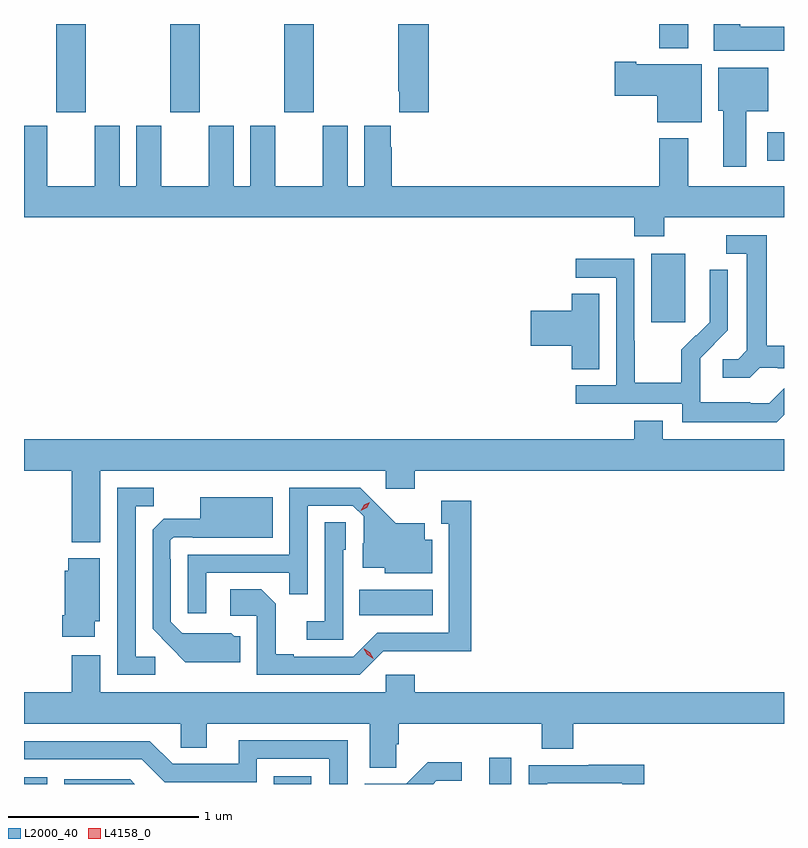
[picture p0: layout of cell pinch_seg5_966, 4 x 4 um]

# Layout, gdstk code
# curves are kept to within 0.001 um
import gdstk
lib = gdstk.Library(unit=1e-6, precision=1e-09)
def R(c, l, rs):  # rectangles x0, y0, x1, y1
    for r in rs: c.add(gdstk.rectangle(r[:2], r[2:], *l))
def A(c, l, x, y, w, h, nx, ny, dx, dy):  # array of equal rectangles
    R(c, l, [(x+i*dx, y+j*dy, x+i*dx+w, y+j*dy+h) for i in range(nx) for j in range(ny)])
def P(c, l, *ps):  # polygons
    for p in ps: c.add(gdstk.Polygon(p, *l))
L2000_40 = (2000, 40)
L4158_0 = (4158, 0)

pinch_seg5_966 = lib.new_cell('pinch_seg5_966')
A(pinch_seg5_966, L2000_40, 708.979, 883.953, 0.155, 0.465, 3, 1, 0.6, 0)
R(pinch_seg5_966, L2000_40, [(708.808,880.418,708.93,880.453), (710.122,880.418,710.32,880.459), (711.257,880.418,711.372,880.555), (710.572,881.306,710.959,881.44), (712.109,882.849,712.288,883.21), (712.719,883.697,712.808,883.849), (712.151,884.291,712.303,884.418)])
P(pinch_seg5_966, L2000_40, [(710.939,884.418),(710.779,884.418),(710.779,884.065),(710.783,884.065),(710.783,883.953),(710.939,883.953)],
  [(712.808,884.404),(712.579,884.404),(712.579,884.418),(712.439,884.418),(712.439,884.276),(712.808,884.276)],
  [(712.375,884.206),(712.03,884.206),(712.03,884.219),(711.918,884.219),(711.918,884.041),(712.142,884.041),(712.142,883.901),(712.375,883.901)],
  [(712.609,883.958),(712.726,883.958),(712.726,884.188),(712.463,884.188),(712.463,883.962),(712.487,883.962),(712.487,883.668),(712.609,883.668)],
  [(712.179,883.4),(712.808,883.4),(712.808,883.564),(712.303,883.564),(712.303,883.816),(712.151,883.816),(712.151,883.564),(710.744,883.564),(710.744,883.769),(710.737,883.769),(710.737,883.882),(710.6,883.882),(710.6,883.564),(710.512,883.564),(710.512,883.882),(710.381,883.882),(710.381,883.564),(710.131,883.564),(710.131,883.882),(710,883.882),(710,883.564),(709.912,883.564),(709.912,883.882),(709.781,883.882),(709.781,883.564),(709.531,883.564),(709.531,883.882),(709.4,883.882),(709.4,883.564),(709.312,883.564),(709.312,883.882),(709.181,883.882),(709.181,883.564),(708.931,883.564),(708.931,883.882),(708.808,883.882),(708.808,883.4),(712.019,883.4),(712.019,883.301),(712.179,883.301)],
  [(712.68,882.609),(712.774,882.609),(712.774,882.606),(712.808,882.606),(712.808,882.725),(712.717,882.725),(712.717,883.305),(712.503,883.305),(712.503,883.209),(712.613,883.209),(712.613,882.701),(712.566,882.654),(712.485,882.654),(712.485,882.557),(712.628,882.557)],
  [(712.808,882.362),(712.808,882.5),(712.731,882.423),(712.631,882.423),(712.631,882.427),(712.368,882.427),(712.368,882.561),(712.366,882.561),(712.366,882.658),(712.512,882.806),(712.512,883.124),(712.416,883.124),(712.416,882.97),(712.418,882.97),(712.418,882.848),(712.347,882.777),(712.344,882.78),(712.267,882.703),(712.267,882.529),(712.023,882.529),(712.023,882.752),(712.02,882.752),(712.02,883.182),(711.711,883.182),(711.711,883.083),(711.924,883.083),(711.924,882.516),(711.711,882.516),(711.711,882.42),(712.272,882.42),(712.272,882.323),(712.769,882.323)],
  [(711.835,882.998),(711.692,882.998),(711.692,882.908),(711.474,882.908),(711.474,882.725),(711.692,882.725),(711.692,882.601),(711.835,882.601)],
  [(709.21,882.068),(710.712,882.068),(710.712,881.973),(710.864,881.973),(710.864,882.068),(712.808,882.068),(712.808,882.232),(712.171,882.232),(712.171,882.331),(712.019,882.331),(712.019,882.232),(708.808,882.232),(708.808,882.068),(709.058,882.068),(709.058,881.69),(709.21,881.69)],
  [(709.498,881.088),(709.395,881.088),(709.395,881.881),(709.491,881.881),(709.491,881.976),(709.299,881.976),(709.299,880.992),(709.498,880.992)],
  [(709.767,881.529),(710.203,881.529),(710.203,881.416),(710.301,881.416),(710.301,881.883),(710.538,881.883),(710.595,881.826),(710.595,881.684),(710.591,881.684),(710.591,881.555),(710.706,881.555),(710.706,881.528),(710.956,881.528),(710.956,881.704),(710.917,881.704),(710.917,881.791),(710.765,881.791),(710.578,881.976),(710.205,881.976),(710.205,881.625),(709.671,881.625),(709.671,881.316),(709.767,881.316)],
  [(709.945,881.196),(709.914,881.196),(709.898,881.212),(709.641,881.211),(709.581,881.271),(709.581,881.6),(709.578,881.6),(709.578,881.7),(709.596,881.718),(709.696,881.718),(709.696,881.714),(710.116,881.714),(710.116,881.926),(709.736,881.926),(709.736,881.815),(709.544,881.815),(709.485,881.756),(709.485,881.234),(709.657,881.06),(709.945,881.06)],
  [(710.7,881.118),(711.163,881.117),(711.163,881.908),(711.005,881.908),(711.005,881.787),(711.044,881.787),(711.044,881.214),(710.667,881.214),(710.541,881.088),(710.227,881.088),(710.227,881.101),(710.133,881.101),(710.133,881.368),(710.057,881.444),(709.893,881.444),(709.893,881.304),(710.034,881.304),(710.034,880.992),(710.574,880.992)],
  [(710.487,881.652),(710.502,881.652),(710.502,881.795),(710.391,881.795),(710.391,881.275),(710.295,881.275),(710.295,881.178),(710.487,881.178)],
  [(709.18,881.274),(709.207,881.274),(709.207,881.605),(709.04,881.605),(709.04,881.541),(709.022,881.541),(709.022,881.305),(709.01,881.305),(709.01,881.193),(709.18,881.193)],
  [(710.766,880.627),(710.78,880.627),(710.78,880.736),(711.533,880.736),(711.533,880.603),(711.698,880.603),(711.698,880.736),(712.808,880.736),(712.808,880.9),(710.864,880.9),(710.864,880.993),(710.712,880.993),(710.712,880.9),(709.21,880.9),(709.21,881.095),(709.058,881.095),(709.058,880.9),(708.808,880.9),(708.808,880.736),(709.632,880.736),(709.632,880.609),(709.771,880.609),(709.771,880.736),(710.627,880.736),(710.627,880.504),(710.766,880.504)],
  [(710.511,880.647),(709.937,880.647),(709.937,880.524),(709.59,880.524),(709.47,880.644),(708.808,880.644),(708.808,880.548),(709.428,880.548),(709.548,880.428),(710.034,880.428),(710.034,880.551),(710.415,880.551),(710.415,880.418),(710.511,880.418)],
  [(710.977,880.434),(711.112,880.434),(711.112,880.532),(710.933,880.532),(710.82,880.419),(710.601,880.419),(710.601,880.418),(710.961,880.418)],
  [(711.561,880.422),(711.957,880.422),(711.957,880.418),(712.073,880.418),(712.073,880.52),(711.781,880.52),(711.781,880.518),(711.465,880.518),(711.465,880.418),(711.561,880.418)],
  [(709.366,880.443),(709.02,880.443),(709.02,880.418),(709.391,880.418)])
P(pinch_seg5_966, L4158_0, [(710.646,881.078),(710.614,881.098),(710.597,881.13),(710.597,881.131),(710.598,881.131),(710.629,881.111),(710.646,881.079),(710.646,881.078)],
  [(710.581,881.857),(710.581,881.857),(710.598,881.887),(710.628,881.902),(710.628,881.902),(710.628,881.902),(710.611,881.872),(710.581,881.857)])

lib.write_gds('pinch_seg5_966.gds')
